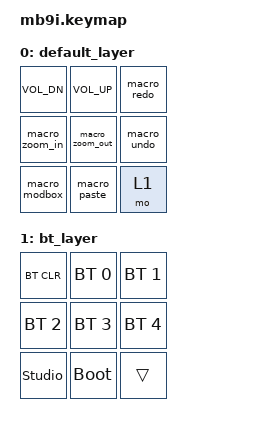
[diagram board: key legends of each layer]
#include <behaviors.dtsi>
#include <dt-bindings/zmk/keys.h>
#include <dt-bindings/zmk/bt.h>

/*
 * Plataforma de destino
 * ---------------------
 * Solo se compila una de las dos listas de macros. Cambiá el valor por defecto
 * acá abajo, o pasalo desde build.yaml sin tocar este archivo:
 *
 *     cmake-args: -DDTS_EXTRA_CPPFLAGS=-DMB9I_OS_MACOS
 *
 * Las dos listas definen los mismos nombres, así que las capas no cambian
 * según la plataforma.
 */
#if !defined(MB9I_OS_WIN) && !defined(MB9I_OS_MACOS)
#define MB9I_OS_WIN
#endif

#if defined(MB9I_OS_WIN) && defined(MB9I_OS_MACOS)
#error "Definí una sola plataforma: MB9I_OS_WIN o MB9I_OS_MACOS"
#endif

/ {
    keymap {
        compatible = "zmk,keymap";

        default_layer {
            bindings = <
                &kp C_VOL_DN &kp C_VOL_UP &macro_redo
                &macro_zoom_in &macro_zoom_out &macro_undo
                &macro_modbox &macro_paste &mo 1
            >;
        };

        bt_layer {
            bindings = <
                &bt BT_CLR &bt BT_SEL 0 &bt BT_SEL 1
                &bt BT_SEL 2 &bt BT_SEL 3 &bt BT_SEL 4
                &studio_unlock &bootloader &trans 
            >;
        };

        extra1 {
            status = "reserved";
        };

        extra2 {
            status = "reserved";
        };

        extra3 {
            status = "reserved";
        };
    };

    macros {

        /* --- Comunes a ambas plataformas --- */

        macro_modbox: macro_modbox {
            compatible = "zmk,behavior-macro";
            #binding-cells = <0>;
            bindings
                = <&macro_tap &kp M &kp O &kp D &kp B &kp O &kp X &kp ENTER>;
        };

        macro_outdent: macro_outdent {
            compatible = "zmk,behavior-macro";
            #binding-cells = <0>;
            bindings
                = <&macro_tap &kp LS(TAB)>;
        };

        // Toggle Integrated Terminal (mismo atajo en las dos plataformas)
        macro_toggle_terminal: macro_toggle_terminal {
            compatible = "zmk,behavior-macro";
            #binding-cells = <0>;
            bindings
                = <&macro_tap &kp LC(GRAVE)>;
        };

        // Format Document (mismo atajo en las dos plataformas)
        macro_format_document: macro_format_document {
            compatible = "zmk,behavior-macro";
            #binding-cells = <0>;
            bindings
                = <&macro_tap &kp LS(LA(F))>;
        };

        // Go to Definition (misma tecla en las dos plataformas)
        macro_go_to_definition: macro_go_to_definition {
            compatible = "zmk,behavior-macro";
            #binding-cells = <0>;
            bindings
                = <&macro_tap &kp F12>;
        };

        // Rename Symbol (misma tecla en las dos plataformas)
        macro_rename_symbol: macro_rename_symbol {
            compatible = "zmk,behavior-macro";
            #binding-cells = <0>;
            bindings
                = <&macro_tap &kp F2>;
        };

#ifdef MB9I_OS_WIN

        /* --- Edición (Windows) --- */

        macro_copy: macro_copy {
            compatible = "zmk,behavior-macro";
            #binding-cells = <0>;
            bindings
                = <&macro_tap &kp LC(C)>;
        };

        macro_paste: macro_paste {
            compatible = "zmk,behavior-macro";
            #binding-cells = <0>;
            bindings
                = <&macro_tap &kp LC(V)>;
        };

        macro_cut: macro_cut {
            compatible = "zmk,behavior-macro";
            #binding-cells = <0>;
            bindings
                = <&macro_tap &kp LC(X)>;
        };

        macro_select_all: macro_select_all {
            compatible = "zmk,behavior-macro";
            #binding-cells = <0>;
            bindings
                = <&macro_tap &kp LC(A)>;
        };

        macro_undo: macro_undo {
            compatible = "zmk,behavior-macro";
            #binding-cells = <0>;
            bindings
                = <&macro_tap &kp LC(Z)>;
        };

        macro_redo: macro_redo {
            compatible = "zmk,behavior-macro";
            #binding-cells = <0>;
            bindings
                = <&macro_tap &kp LC(Y)>;
        };

        macro_duplicate: macro_duplicate {
            compatible = "zmk,behavior-macro";
            #binding-cells = <0>;
            bindings
                = <&macro_tap &kp LC(D)>;
        };

        macro_comment: macro_comment {
            compatible = "zmk,behavior-macro";
            #binding-cells = <0>;
            bindings
                = <&macro_tap &kp LC(FSLH)>;
        };

        /* --- Archivos (Windows) --- */

        macro_save: macro_save {
            compatible = "zmk,behavior-macro";
            #binding-cells = <0>;
            bindings
                = <&macro_tap &kp LC(S)>;
        };

        macro_save_as: macro_save_as {
            compatible = "zmk,behavior-macro";
            #binding-cells = <0>;
            bindings
                = <&macro_tap &kp LC(LS(S))>;
        };

        macro_new: macro_new {
            compatible = "zmk,behavior-macro";
            #binding-cells = <0>;
            bindings
                = <&macro_tap &kp LC(N)>;
        };

        macro_open: macro_open {
            compatible = "zmk,behavior-macro";
            #binding-cells = <0>;
            bindings
                = <&macro_tap &kp LC(O)>;
        };

        macro_print: macro_print {
            compatible = "zmk,behavior-macro";
            #binding-cells = <0>;
            bindings
                = <&macro_tap &kp LC(P)>;
        };

        /* --- Búsqueda (Windows) --- */

        macro_find: macro_find {
            compatible = "zmk,behavior-macro";
            #binding-cells = <0>;
            bindings
                = <&macro_tap &kp LC(F)>;
        };

        macro_find_next: macro_find_next {
            compatible = "zmk,behavior-macro";
            #binding-cells = <0>;
            bindings
                = <&macro_tap &kp LC(G)>;
        };

        macro_replace: macro_replace {
            compatible = "zmk,behavior-macro";
            #binding-cells = <0>;
            bindings
                = <&macro_tap &kp LC(H)>;
        };

        /* --- Formato de texto (Windows) --- */

        macro_bold: macro_bold {
            compatible = "zmk,behavior-macro";
            #binding-cells = <0>;
            bindings
                = <&macro_tap &kp LC(B)>;
        };

        macro_italic: macro_italic {
            compatible = "zmk,behavior-macro";
            #binding-cells = <0>;
            bindings
                = <&macro_tap &kp LC(I)>;
        };

        macro_underline: macro_underline {
            compatible = "zmk,behavior-macro";
            #binding-cells = <0>;
            bindings
                = <&macro_tap &kp LC(U)>;
        };

        /* --- Pestañas y zoom (Windows) --- */

        macro_new_tab: macro_new_tab {
            compatible = "zmk,behavior-macro";
            #binding-cells = <0>;
            bindings
                = <&macro_tap &kp LC(T)>;
        };

        macro_close_tab: macro_close_tab {
            compatible = "zmk,behavior-macro";
            #binding-cells = <0>;
            bindings
                = <&macro_tap &kp LC(W)>;
        };

        macro_reopen_tab: macro_reopen_tab {
            compatible = "zmk,behavior-macro";
            #binding-cells = <0>;
            bindings
                = <&macro_tap &kp LC(LS(T))>;
        };

        macro_refresh: macro_refresh {
            compatible = "zmk,behavior-macro";
            #binding-cells = <0>;
            bindings
                = <&macro_tap &kp LC(R)>;
        };

        macro_zoom_in: macro_zoom_in {
            compatible = "zmk,behavior-macro";
            #binding-cells = <0>;
            bindings
                = <&macro_tap &kp LC(KP_PLUS)>;
        };

        macro_zoom_out: macro_zoom_out {
            compatible = "zmk,behavior-macro";
            #binding-cells = <0>;
            bindings
                = <&macro_tap &kp LC(KP_MINUS)>;
        };

        macro_zoom_reset: macro_zoom_reset {
            compatible = "zmk,behavior-macro";
            #binding-cells = <0>;
            bindings
                = <&macro_tap &kp LC(N0)>;
        };

        /* --- Sistema (Windows) --- */

        // Alt+F4
        macro_quit_app: macro_quit_app {
            compatible = "zmk,behavior-macro";
            #binding-cells = <0>;
            bindings
                = <&macro_tap &kp LA(F4)>;
        };

        // Alt+Tab
        macro_switch_app: macro_switch_app {
            compatible = "zmk,behavior-macro";
            #binding-cells = <0>;
            bindings
                = <&macro_tap &kp LA(TAB)>;
        };

        // Win+S: búsqueda del sistema, equivalente a Spotlight
        macro_search: macro_search {
            compatible = "zmk,behavior-macro";
            #binding-cells = <0>;
            bindings
                = <&macro_tap &kp LG(S)>;
        };

        // Win+Shift+S: recorte de pantalla
        macro_screenshot: macro_screenshot {
            compatible = "zmk,behavior-macro";
            #binding-cells = <0>;
            bindings
                = <&macro_tap &kp LG(LS(S))>;
        };

        // Win+L
        macro_lock_screen: macro_lock_screen {
            compatible = "zmk,behavior-macro";
            #binding-cells = <0>;
            bindings
                = <&macro_tap &kp LG(L)>;
        };

        // Win+Flecha abajo
        macro_minimize_window: macro_minimize_window {
            compatible = "zmk,behavior-macro";
            #binding-cells = <0>;
            bindings
                = <&macro_tap &kp LG(DOWN)>;
        };

        // Win+D: mostrar escritorio, equivalente a ocultar la app
        macro_hide_app: macro_hide_app {
            compatible = "zmk,behavior-macro";
            #binding-cells = <0>;
            bindings
                = <&macro_tap &kp LG(D)>;
        };

        macro_new_window: macro_new_window {
            compatible = "zmk,behavior-macro";
            #binding-cells = <0>;
            bindings
                = <&macro_tap &kp LC(N)>;
        };

        // Ctrl+Shift+Esc: administrador de tareas
        macro_force_quit: macro_force_quit {
            compatible = "zmk,behavior-macro";
            #binding-cells = <0>;
            bindings
                = <&macro_tap &kp LC(LS(ESC))>;
        };

        /* --- VS Code (Windows) --- */

        macro_command_palette: macro_command_palette {
            compatible = "zmk,behavior-macro";
            #binding-cells = <0>;
            bindings
                = <&macro_tap &kp LC(LS(P))>;
        };

        macro_quick_open: macro_quick_open {
            compatible = "zmk,behavior-macro";
            #binding-cells = <0>;
            bindings
                = <&macro_tap &kp LC(P)>;
        };

        macro_toggle_sidebar: macro_toggle_sidebar {
            compatible = "zmk,behavior-macro";
            #binding-cells = <0>;
            bindings
                = <&macro_tap &kp LC(B)>;
        };

        macro_quick_fix: macro_quick_fix {
            compatible = "zmk,behavior-macro";
            #binding-cells = <0>;
            bindings
                = <&macro_tap &kp LC(DOT)>;
        };

        macro_split_editor: macro_split_editor {
            compatible = "zmk,behavior-macro";
            #binding-cells = <0>;
            bindings
                = <&macro_tap &kp LC(BSLH)>;
        };

        macro_multi_cursor_down: macro_multi_cursor_down {
            compatible = "zmk,behavior-macro";
            #binding-cells = <0>;
            bindings
                = <&macro_tap &kp LC(LA(DOWN))>;
        };

        // Zen Mode: acorde Ctrl+K, luego Z
        macro_zen_mode: macro_zen_mode {
            compatible = "zmk,behavior-macro";
            #binding-cells = <0>;
            bindings
                = <&macro_tap &kp LC(K) &kp Z>;
        };

#else /* MB9I_OS_MACOS */

        /* --- Edición (macOS) --- */

        macro_copy: macro_copy {
            compatible = "zmk,behavior-macro";
            #binding-cells = <0>;
            bindings
                = <&macro_tap &kp LG(C)>;
        };

        macro_paste: macro_paste {
            compatible = "zmk,behavior-macro";
            #binding-cells = <0>;
            bindings
                = <&macro_tap &kp LG(V)>;
        };

        macro_cut: macro_cut {
            compatible = "zmk,behavior-macro";
            #binding-cells = <0>;
            bindings
                = <&macro_tap &kp LG(X)>;
        };

        macro_select_all: macro_select_all {
            compatible = "zmk,behavior-macro";
            #binding-cells = <0>;
            bindings
                = <&macro_tap &kp LG(A)>;
        };

        macro_undo: macro_undo {
            compatible = "zmk,behavior-macro";
            #binding-cells = <0>;
            bindings
                = <&macro_tap &kp LG(Z)>;
        };

        // En macOS rehacer es Cmd+Shift+Z, no una tecla aparte
        macro_redo: macro_redo {
            compatible = "zmk,behavior-macro";
            #binding-cells = <0>;
            bindings
                = <&macro_tap &kp LG(LS(Z))>;
        };

        macro_duplicate: macro_duplicate {
            compatible = "zmk,behavior-macro";
            #binding-cells = <0>;
            bindings
                = <&macro_tap &kp LG(D)>;
        };

        macro_comment: macro_comment {
            compatible = "zmk,behavior-macro";
            #binding-cells = <0>;
            bindings
                = <&macro_tap &kp LG(FSLH)>;
        };

        /* --- Archivos (macOS) --- */

        macro_save: macro_save {
            compatible = "zmk,behavior-macro";
            #binding-cells = <0>;
            bindings
                = <&macro_tap &kp LG(S)>;
        };

        macro_save_as: macro_save_as {
            compatible = "zmk,behavior-macro";
            #binding-cells = <0>;
            bindings
                = <&macro_tap &kp LG(LS(S))>;
        };

        macro_new: macro_new {
            compatible = "zmk,behavior-macro";
            #binding-cells = <0>;
            bindings
                = <&macro_tap &kp LG(N)>;
        };

        macro_open: macro_open {
            compatible = "zmk,behavior-macro";
            #binding-cells = <0>;
            bindings
                = <&macro_tap &kp LG(O)>;
        };

        macro_print: macro_print {
            compatible = "zmk,behavior-macro";
            #binding-cells = <0>;
            bindings
                = <&macro_tap &kp LG(P)>;
        };

        /* --- Búsqueda (macOS) --- */

        macro_find: macro_find {
            compatible = "zmk,behavior-macro";
            #binding-cells = <0>;
            bindings
                = <&macro_tap &kp LG(F)>;
        };

        macro_find_next: macro_find_next {
            compatible = "zmk,behavior-macro";
            #binding-cells = <0>;
            bindings
                = <&macro_tap &kp LG(G)>;
        };

        // Cmd+Opt+F: buscar y reemplazar
        macro_replace: macro_replace {
            compatible = "zmk,behavior-macro";
            #binding-cells = <0>;
            bindings
                = <&macro_tap &kp LG(LA(F))>;
        };

        /* --- Formato de texto (macOS) --- */

        macro_bold: macro_bold {
            compatible = "zmk,behavior-macro";
            #binding-cells = <0>;
            bindings
                = <&macro_tap &kp LG(B)>;
        };

        macro_italic: macro_italic {
            compatible = "zmk,behavior-macro";
            #binding-cells = <0>;
            bindings
                = <&macro_tap &kp LG(I)>;
        };

        macro_underline: macro_underline {
            compatible = "zmk,behavior-macro";
            #binding-cells = <0>;
            bindings
                = <&macro_tap &kp LG(U)>;
        };

        /* --- Pestañas y zoom (macOS) --- */

        macro_new_tab: macro_new_tab {
            compatible = "zmk,behavior-macro";
            #binding-cells = <0>;
            bindings
                = <&macro_tap &kp LG(T)>;
        };

        macro_close_tab: macro_close_tab {
            compatible = "zmk,behavior-macro";
            #binding-cells = <0>;
            bindings
                = <&macro_tap &kp LG(W)>;
        };

        macro_reopen_tab: macro_reopen_tab {
            compatible = "zmk,behavior-macro";
            #binding-cells = <0>;
            bindings
                = <&macro_tap &kp LG(LS(T))>;
        };

        macro_refresh: macro_refresh {
            compatible = "zmk,behavior-macro";
            #binding-cells = <0>;
            bindings
                = <&macro_tap &kp LG(R)>;
        };

        macro_zoom_in: macro_zoom_in {
            compatible = "zmk,behavior-macro";
            #binding-cells = <0>;
            bindings
                = <&macro_tap &kp LG(KP_PLUS)>;
        };

        macro_zoom_out: macro_zoom_out {
            compatible = "zmk,behavior-macro";
            #binding-cells = <0>;
            bindings
                = <&macro_tap &kp LG(KP_MINUS)>;
        };

        macro_zoom_reset: macro_zoom_reset {
            compatible = "zmk,behavior-macro";
            #binding-cells = <0>;
            bindings
                = <&macro_tap &kp LG(N0)>;
        };

        /* --- Sistema (macOS) --- */

        macro_quit_app: macro_quit_app {
            compatible = "zmk,behavior-macro";
            #binding-cells = <0>;
            bindings
                = <&macro_tap &kp LG(Q)>;
        };

        macro_switch_app: macro_switch_app {
            compatible = "zmk,behavior-macro";
            #binding-cells = <0>;
            bindings
                = <&macro_tap &kp LG(TAB)>;
        };

        // Cmd+Espacio: Spotlight
        macro_search: macro_search {
            compatible = "zmk,behavior-macro";
            #binding-cells = <0>;
            bindings
                = <&macro_tap &kp LG(SPACE)>;
        };

        // Cmd+Shift+4: captura de una selección
        macro_screenshot: macro_screenshot {
            compatible = "zmk,behavior-macro";
            #binding-cells = <0>;
            bindings
                = <&macro_tap &kp LG(LS(N4))>;
        };

        macro_lock_screen: macro_lock_screen {
            compatible = "zmk,behavior-macro";
            #binding-cells = <0>;
            bindings
                = <&macro_tap &kp LG(LC(Q))>;
        };

        macro_minimize_window: macro_minimize_window {
            compatible = "zmk,behavior-macro";
            #binding-cells = <0>;
            bindings
                = <&macro_tap &kp LG(M)>;
        };

        macro_hide_app: macro_hide_app {
            compatible = "zmk,behavior-macro";
            #binding-cells = <0>;
            bindings
                = <&macro_tap &kp LG(H)>;
        };

        macro_new_window: macro_new_window {
            compatible = "zmk,behavior-macro";
            #binding-cells = <0>;
            bindings
                = <&macro_tap &kp LG(N)>;
        };

        macro_force_quit: macro_force_quit {
            compatible = "zmk,behavior-macro";
            #binding-cells = <0>;
            bindings
                = <&macro_tap &kp LG(LA(ESC))>;
        };

        /* --- VS Code (macOS) --- */

        macro_command_palette: macro_command_palette {
            compatible = "zmk,behavior-macro";
            #binding-cells = <0>;
            bindings
                = <&macro_tap &kp LG(LS(P))>;
        };

        macro_quick_open: macro_quick_open {
            compatible = "zmk,behavior-macro";
            #binding-cells = <0>;
            bindings
                = <&macro_tap &kp LG(P)>;
        };

        macro_toggle_sidebar: macro_toggle_sidebar {
            compatible = "zmk,behavior-macro";
            #binding-cells = <0>;
            bindings
                = <&macro_tap &kp LG(B)>;
        };

        macro_quick_fix: macro_quick_fix {
            compatible = "zmk,behavior-macro";
            #binding-cells = <0>;
            bindings
                = <&macro_tap &kp LG(DOT)>;
        };

        macro_split_editor: macro_split_editor {
            compatible = "zmk,behavior-macro";
            #binding-cells = <0>;
            bindings
                = <&macro_tap &kp LG(BSLH)>;
        };

        macro_multi_cursor_down: macro_multi_cursor_down {
            compatible = "zmk,behavior-macro";
            #binding-cells = <0>;
            bindings
                = <&macro_tap &kp LG(LA(DOWN))>;
        };

        // Zen Mode: acorde Cmd+K, luego Z
        macro_zen_mode: macro_zen_mode {
            compatible = "zmk,behavior-macro";
            #binding-cells = <0>;
            bindings
                = <&macro_tap &kp LG(K) &kp Z>;
        };

#endif /* MB9I_OS_WIN */

    };
};
